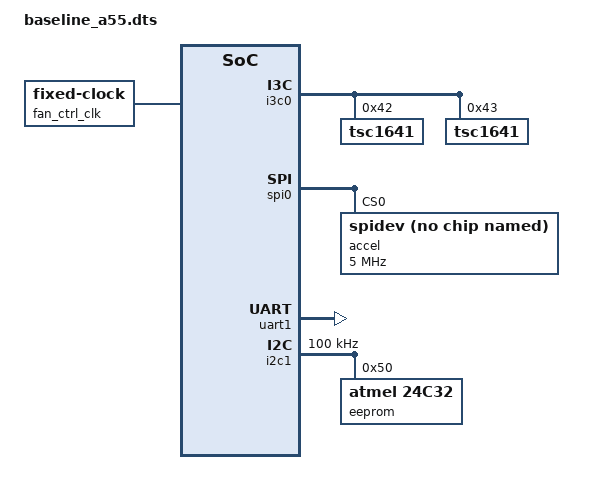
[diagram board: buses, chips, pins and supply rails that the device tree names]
// SPDX-License-Identifier: GPL-2.0-only
/*
 * Copyright (C) 2025, Altera Corporation
 */
/dts-v1/;
#include "socfpga_agilex5_socdk_013b.dts"

/ {
    /* Fixed 100 MHz reference clock for ADI AXI fan controller. */
    fan_ctrl_clk: fan-ctrl-clk {
        compatible = "fixed-clock";
        #clock-cells = <0>;
        clock-frequency = <100000000>;
    };

    soc@0 {
        /*
         * ADI AXI fan controller at LWH2F 0x20000000, GIC SPI 18.
         * temp_in[9:0] is tied to 0 in the fabric (placeholder); use devmem
         * writes to PWM_WIDTH (0x20000084) to override the duty cycle manually.
         */
        axi_fan_control: axi-fan-control@20000000 {
            compatible = "adi,axi-fan-control-1.00.a";
            reg = <0x20000000 0x400>;
            clocks = <&fan_ctrl_clk>;
            interrupt-parent = <&intc>;
            interrupts = <GIC_SPI 18 IRQ_TYPE_LEVEL_HIGH>;
            pulses-per-revolution = <2>;
        };

        /*
         * Universal GPIO interim — 14-bit bidir Avalon PIO (falling-edge IRQ).
         * Address: LWH2F 0x20000000 + fabric offset 0x100A0 = 0x200100A0
         * IRQ: fabric_subsys.pio_irq -> f2h_irq0_in #2 -> GIC SPI 19
         *
         * 14 lines: Linux/fabric GPIO0–13 → ugpio[13:0] → PIO export[13:0].
         * Pi-header GPIO10 (PWM) and GPIO12 (tach) are on axi_fan_control,
         * not this bank.
         *
         * Fabric | Pi-header GPIO | Ball
         *   0–9  | GPIO0–9        | AG20 … AH18
         *  10–13 | GPIO11,13–15   | AF22, AJ27, AK24, AH26
         */
        ugpio: gpio@200100a0 {
            compatible = "altr,pio-1.0";
            reg = <0x200100a0 0x10>;
            interrupt-parent = <&intc>;
            interrupts = <GIC_SPI 19 IRQ_TYPE_EDGE_RISING>;
            altr,gpio-bank-width = <14>;
            altr,interrupt-type = <IRQ_TYPE_EDGE_FALLING>;
            #gpio-cells = <2>;
            gpio-controller;
            interrupt-controller;
            #interrupt-cells = <2>;
        };
    };
};

/*
 * Altera sensor board I3C sensors on HPS I3C0 (Pi-header balls AJ24/AJ23).
 * P3T1755 (temp) and TSC1641 x2 (power meters) are native I3C devices.
 * Shunt resistors are 0.1 ohm (100000 uOhm); driver default is 1000 uOhm,
 * so shunt-resistor-micro-ohms must be set or current/power reads ~100x high.
 */
&i3c0 {
    status = "okay";
    #address-cells = <3>;
    #size-cells = <0>;

    /*
     * Cap the I3C push-pull clock to 10 MHz (default 12.5 MHz).
     * The TSC1641 powers up in I2C mode with a 50 ns spike filter (tLFP,
     * DS14338 Table 8). The DesignWare driver sets t_CAS = 40 ns at 12.5 MHz,
     * which is below the filter threshold, so the TSC1641 NAKs SETDASA.
     * At 10 MHz t_CAS = 60 ns, which passes. Ref: DS14338 Table 8 (tLFP).
     */
    i3c-scl-hz = <10000000>;

    /*
     * assigned-address forces SETDASA instead of ENTDAA. The TSC1641s sit at
     * the far end of the bus stub (pull-ups are at the P3T1755); during ENTDAA
     * their open-drain PID edges are marginal and the controller misreads the
     * PID. With SETDASA the controller drives the address and the TSC1641 only
     * needs to ACK, which is reliable. P3T1755 still uses ENTDAA (short stub).
     */

    /* U3 — VH (heater) rail, static addr 0x42 */
    tsc1641@42,208020a2001 {
        reg = <0x42 0x0208 0x020a2001>;
        assigned-address = <0x42>;
        shunt-resistor-micro-ohms = <100000>;
    };

    /* U8 — VFAN (fan) rail, static addr 0x43 */
    tsc1641@43,208020a3001 {
        reg = <0x43 0x0208 0x020a3001>;
        assigned-address = <0x43>;
        shunt-resistor-micro-ohms = <100000>;
    };
};

/*
 * Altera sensor board accelerometer (ST IIS2DULPX) on HPS SPIM0 via spidev.
 * SPIM0 is routed through the FPGA fabric to Pi-header balls AJ22/AH20/AJ20/AG23.
 * No in-tree IIS2DULPX driver; rohm,dh2228fv is used to bind spidev without a
 * kernel patch. The iis2dulpx-accel daemon identifies the part via WHO_AM_I (0x47).
 */
&spi0 {
    status = "okay";
    #address-cells = <1>;
    #size-cells = <0>;

    accel@0 {
        compatible = "rohm,dh2228fv";
        reg = <0>;
        spi-max-frequency = <5000000>;
    };
};

/*
 * UART1 routed through FPGA fabric to Pi-header balls AF24 (TX) / AG24 (RX).
 * Used for the QT Py MCU on the sensor board. ttyS0 remains the boot console.
 */
/ {
    aliases {
        serial1 = &uart1;
    };
};

&uart1 {
    status = "okay";
};

/* Sensor board HAT ID EEPROM (CAT24C32 @ 0x50) on HPS I2C1. */
&i2c1 {
    status = "okay";
    clock-frequency = <100000>;

    eeprom@50 {
        compatible = "atmel,24c32";
        reg = <0x50>;
        pagesize = <32>;
    };
};
